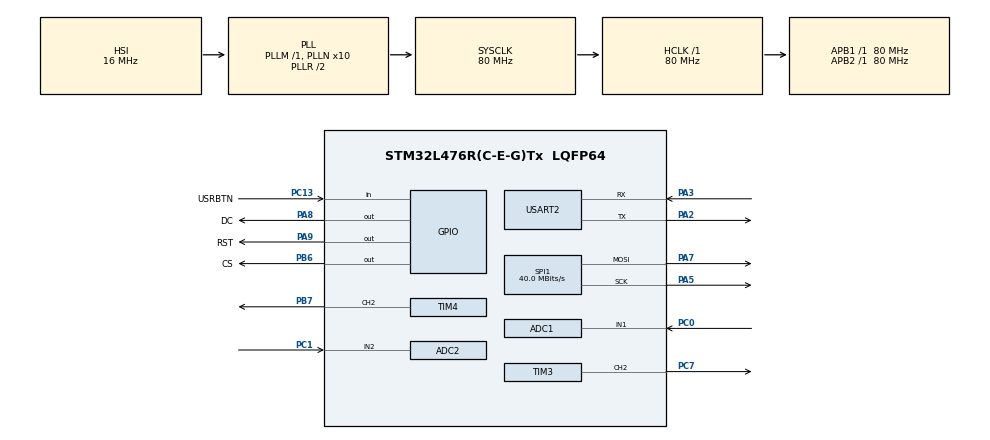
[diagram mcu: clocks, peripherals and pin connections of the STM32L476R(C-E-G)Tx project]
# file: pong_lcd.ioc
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ADC1.Channel-0\#ChannelRegularConversion=ADC_CHANNEL_1
ADC1.ContinuousConvMode=ENABLE
ADC1.NbrOfConversionFlag=1
ADC1.OffsetNumber-0\#ChannelRegularConversion=ADC_OFFSET_NONE
ADC1.Overrun=ADC_OVR_DATA_OVERWRITTEN
ADC1.Rank-0\#ChannelRegularConversion=1
ADC1.Resolution=ADC_RESOLUTION_8B
ADC1.SamplingTime-0\#ChannelRegularConversion=ADC_SAMPLETIME_2CYCLES_5
ADC1.master=1
ADC2.Channel-0\#ChannelRegularConversion=ADC_CHANNEL_2
ADC2.ContinuousConvMode=ENABLE
ADC2.NbrOfConversionFlag=1
ADC2.OffsetNumber-0\#ChannelRegularConversion=ADC_OFFSET_NONE
ADC2.Overrun=ADC_OVR_DATA_OVERWRITTEN
ADC2.Rank-0\#ChannelRegularConversion=1
ADC2.Resolution=ADC_RESOLUTION_8B
ADC2.SamplingTime-0\#ChannelRegularConversion=ADC_SAMPLETIME_2CYCLES_5
Mcu.Family=STM32L4
Mcu.Name=STM32L476R(C-E-G)Tx
Mcu.Package=LQFP64
NVIC.PriorityGroup=NVIC_PRIORITYGROUP_4
NVIC.TIM6_DAC_IRQn=true\:0\:0\:false\:false\:true\:true\:true\:true
NVIC.USART2_IRQn=true\:0\:0\:false\:false\:true\:true\:true\:true
PA2.Mode=Asynchronous
PA2.Signal=USART2_TX
PA3.Mode=Asynchronous
PA3.Signal=USART2_RX
PA5.Mode=TX_Only_Simplex_Unidirect_Master
PA5.Signal=SPI1_SCK
PA7.Mode=TX_Only_Simplex_Unidirect_Master
PA7.Signal=SPI1_MOSI
PA8.GPIO_Label=DC
PA8.Signal=GPIO_Output
PA9.GPIO_Label=RST
PA9.Signal=GPIO_Output
PB6.GPIO_Label=CS
PB6.Signal=GPIO_Output
PB7.Signal=S_TIM4_CH2
PC0.Signal=ADCx_IN1
PC1.Signal=ADCx_IN2
PC13.GPIO_Label=USRBTN
PC13.Signal=GPIO_Input
PC14-OSC32_IN\ (PC14).Mode=LSE-External-Oscillator
PC14-OSC32_IN\ (PC14).Signal=RCC_OSC32_IN
PC15-OSC32_OUT\ (PC15).Mode=LSE-External-Oscillator
PC15-OSC32_OUT\ (PC15).Signal=RCC_OSC32_OUT
PC7.Signal=S_TIM3_CH2
ProjectManager.HeapSize=0x200
ProjectManager.StackSize=0x400
ProjectManager.TargetToolchain=STM32CubeIDE
RCC.ADCFreq_Value=64000000
RCC.AHBFreq_Value=80000000
RCC.APB1Freq_Value=80000000
RCC.APB1TimFreq_Value=80000000
RCC.APB2Freq_Value=80000000
RCC.APB2TimFreq_Value=80000000
RCC.CortexFreq_Value=80000000
RCC.HCLKFreq_Value=80000000
RCC.HSE_VALUE=8000000
RCC.HSI_VALUE=16000000
RCC.MSI_VALUE=4000000
RCC.PLLN=10
RCC.PLLSourceVirtual=RCC_PLLSOURCE_HSI
RCC.PREFETCH_ENABLE=1
RCC.RTCClockSelection=RCC_RTCCLKSOURCE_LSE
RCC.SYSCLKFreq_VALUE=80000000
RCC.SYSCLKSource=RCC_SYSCLKSOURCE_PLLCLK
RCC.USBFreq_Value=64000000
RCC.VCOOutputFreq_Value=160000000
SH.ADCx_IN1.0=ADC1_IN1,IN1-Single-Ended
SH.ADCx_IN2.0=ADC2_IN2,IN2-Single-Ended
SH.S_TIM3_CH2.0=TIM3_CH2,PWM Generation2 CH2
SH.S_TIM4_CH2.0=TIM4_CH2,PWM Generation2 CH2
SPI1.BaudRatePrescaler=SPI_BAUDRATEPRESCALER_2
SPI1.CalculateBaudRate=40.0 MBits/s
SPI1.DataSize=SPI_DATASIZE_8BIT
SPI1.Direction=SPI_DIRECTION_2LINES
SPI1.Mode=SPI_MODE_MASTER
SPI1.VirtualType=VM_MASTER
TIM3.Channel-PWM\ Generation2\ CH2=TIM_CHANNEL_2
TIM3.Period=1000-1
TIM3.Prescaler=300-1
TIM4.Channel-PWM\ Generation2\ CH2=TIM_CHANNEL_2
TIM6.Period=9999
TIM6.Prescaler=7999
USART2.VirtualMode-Asynchronous=VM_ASYNC
VP_RTC_VS_RTC_Activate.Mode=RTC_Enabled
VP_TIM6_VS_ClockSourceINT.Mode=Enable_Timer
board=NUCLEO-L476RG

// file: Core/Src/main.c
/* USER CODE BEGIN Header */
/**
 ******************************************************************************
 * @file           : main.c
 * @brief          : Main program body
 ******************************************************************************
 * @attention
 *
 * Copyright (c) 2026 STMicroelectronics.
 * All rights reserved.
 *
 * This software is licensed under terms that can be found in the LICENSE file
 * in the root directory of this software component.
 * If no LICENSE file comes with this software, it is provided AS-IS.
 *
 ******************************************************************************
 */
/* USER CODE END Header */
#include "main.h"

/* USER CODE BEGIN Includes */
#include "waveshare/GUI_Paint.h"
#include "waveshare/fonts.h"
#include "waveshare/image.h"
#include "waveshare/LCD_Test.h"
#include "waveshare/LCD_2inch4.h"
#include "waveshare/DEV_Config.h"
#include "buzzer.h"
#include "wyniki.h"

#include <stdio.h>
#include <stdlib.h>
#include <string.h>
#include <math.h>
/* USER CODE END Includes */

/* USER CODE BEGIN PD */
#define SIZE 6
/* USER CODE END PD */

ADC_HandleTypeDef hadc1;
ADC_HandleTypeDef hadc2;

RTC_HandleTypeDef hrtc;

SPI_HandleTypeDef hspi1;

TIM_HandleTypeDef htim3;
TIM_HandleTypeDef htim4;
TIM_HandleTypeDef htim6;

UART_HandleTypeDef huart2;

/* USER CODE BEGIN PV */
//UART
uint8_t rx = 0;

//ADC
uint32_t value = 0;
uint32_t value2 = 0;

//Timer
volatile uint32_t game_time = 0;
volatile uint8_t tick_flag = 0;

//Punkty
char punkty1[5];
char punkty2[5];
int p1 = 0;
int p2 = 0;

//Bufor
char buf[256] = {'\0'};

//Kontrola prędkości etc.
int divider = 0;
int wcisniety = 0;
int speed = 2;

//Pozycja paletek
volatile int wl = 100;
volatile int wp = 100;
/* USER CODE END PV */

void SystemClock_Config(void);
void PeriphCommonClock_Config(void);
static void MX_GPIO_Init(void);
static void MX_RTC_Init(void);
static void MX_SPI1_Init(void);
static void MX_USART2_UART_Init(void);
static void MX_TIM3_Init(void);
static void MX_TIM4_Init(void);
static void MX_ADC1_Init(void);
static void MX_ADC2_Init(void);
static void MX_TIM6_Init(void);
/* USER CODE BEGIN PFP */
void Demo(struct rankingList *ranking);
void punkty_up(int gracz);
char* odczytaj(char *word, size_t size);
void wyslij(char* string);
void Buzzer_SetTone(uint32_t freq_hz, uint8_t volume);
/* USER CODE END PFP */

/* USER CODE BEGIN 0 */

const Tone_t nokia_t[] = {

		{NOTE_E5, 8}, {NOTE_D5, 8},{ NOTE_FS4, 4},{ NOTE_GS4, 4},
		{NOTE_CS5, 8}, {NOTE_B4, 8}, {NOTE_D4, 4}, {NOTE_E4, 4},
		{NOTE_B4, 8}, {NOTE_A4, 8}, {NOTE_CS4, 4}, {NOTE_E4, 4},
		{NOTE_A4, 2}, {0,0}
};

int melody[] = {

  // Cantina BAnd - Star wars
  // Score available at https://musescore.com/user/6795541/scores/1606876
  NOTE_B4,-4, NOTE_E5,-4, NOTE_B4,-4, NOTE_E5,-4,
  NOTE_B4,8,  NOTE_E5,-4, NOTE_B4,8, REST,8,  NOTE_AS4,8, NOTE_B4,8,
  NOTE_B4,8,  NOTE_AS4,8, NOTE_B4,8, NOTE_A4,8, REST,8, NOTE_GS4,8, NOTE_A4,8, NOTE_G4,8,
  NOTE_G4,4,  NOTE_E4,-2,
  NOTE_B4,-4, NOTE_E5,-4, NOTE_B4,-4, NOTE_E5,-4,
  NOTE_B4,8,  NOTE_E5,-4, NOTE_B4,8, REST,8,  NOTE_AS4,8, NOTE_B4,8,

  NOTE_A4,-4, NOTE_A4,-4, NOTE_GS4,8, NOTE_A4,-4,
  NOTE_D5,8,  NOTE_C5,-4, NOTE_B4,-4, NOTE_A4,-4,
  NOTE_B4,-4, NOTE_E5,-4, NOTE_B4,-4, NOTE_E5,-4,
  NOTE_B4,8,  NOTE_E5,-4, NOTE_B4,8, REST,8,  NOTE_AS4,8, NOTE_B4,8,
  NOTE_D5,4, NOTE_D5,-4, NOTE_B4,8, NOTE_A4,-4,
  NOTE_G4,-4, NOTE_E4,-2,
  NOTE_E4, 2, NOTE_G4,2,
  NOTE_B4, 2, NOTE_D5,2,

  NOTE_F5, -4, NOTE_E5,-4, NOTE_AS4,8, NOTE_AS4,8, NOTE_B4,4, NOTE_G4,4,

};

int __io_putchar(int ch)
{
	if (ch == '\n') {
		uint8_t ch2 = '\r';
		HAL_UART_Transmit(&huart2, &ch2, 1, HAL_MAX_DELAY);
	}
	HAL_UART_Transmit(&huart2, (uint8_t*)&ch, 1, HAL_MAX_DELAY);
	return 1;
}

int __io_getchar(void) {
	uint8_t ch = 0;

	HAL_UART_Receive(&huart2, &ch, 1, HAL_MAX_DELAY);

	if(ch == '\r') {
		HAL_UART_Transmit(&huart2, (uint8_t*)"\r\n", 2, 10);
		return '\n';
	}

	HAL_UART_Transmit(&huart2, &ch, 1, 100);

	return ch;
}

void HAL_TIM_PeriodElapsedCallback(TIM_HandleTypeDef *htim)
{
	if(htim->Instance == TIM6)
	{
		game_time++;
		tick_flag = 1;
	}
}

void Buzzer_SetTone(uint32_t freq_hz, uint8_t volume)
{
	if (freq_hz == 0)
	{
		__HAL_TIM_SET_COMPARE(&htim4, TIM_CHANNEL_2, 0);
		return;
	}

	uint32_t timer_clock = 80000000;
	uint32_t prescaler_value = (timer_clock / 1000000) - 1;
	uint32_t period_value = (1000000 / freq_hz) - 1;
	uint32_t pulse_value = (period_value * volume) / 100;

	// Apply settings
	__HAL_TIM_SET_PRESCALER(&htim4, prescaler_value);
	__HAL_TIM_SET_AUTORELOAD(&htim4, period_value);
	__HAL_TIM_SET_COMPARE(&htim4, TIM_CHANNEL_2, pulse_value);

	// Trigger update to apply changes immediately
	HAL_TIM_GenerateEvent(&htim4, TIM_EVENTSOURCE_UPDATE);
}

void nokia(void) {
	const uint32_t WHOLE_NOTE_DURATION = 1700;
	uint32_t noteDuration = 0;

	for (int i = 0; nokia_t[i].frequency != 0; i++)
	{
		if(nokia_t[i].duration_ms > 0) {
			noteDuration = WHOLE_NOTE_DURATION / nokia_t[i].duration_ms;
		} else {
			noteDuration = WHOLE_NOTE_DURATION / abs(nokia_t[i].duration_ms)*1.5;
		}

		Buzzer_SetTone(nokia_t[i].frequency, 50);

		HAL_Delay(noteDuration * 0.9);

		Buzzer_SetTone(0, 0);
		HAL_Delay(noteDuration * 0.1);
	}
	Buzzer_SetTone(0, 0);
}

void wyslij(char* string)
{
	HAL_UART_Transmit(&huart2, (uint8_t*)string, strlen(string), 1000);
}

char* odczytaj(char *word, size_t size) {
	uint8_t value = 0;
	int i=0;
	while(i < size - 1) {
		HAL_UART_Receive(&huart2, &value, 1, HAL_MAX_DELAY);
		if (value == 0x7F) {
			if(i>0) {
				word[i] = '\0';
				i--;
				uint8_t erase[] = "\b \b";
				HAL_UART_Transmit(&huart2, erase, 3, 10);
			}
			continue;
		}
		//jak obsłużymy \r to \n zostaje w buforze
		if (value == '\n') {
			continue;
		}
		if(value == '\r') {
			break;
		}
		word[i] = value;

		HAL_UART_Transmit(&huart2, &value, 1, 10);
		char tempStr[2] = {value, '\0'};
		int current_x = 50 + (i * 16);
		Paint_DrawString_EN (current_x, 155, tempStr, &Font24, WHITE, BLACK);

		i++;
		value = 0;
	}
	word[i] = '\0';
	wyslij("\r\n");
	return word;
}

void end(struct rankingList *ranking) {
	char tekst[8] = {'\0'};
	printf("\n");
	Paint_DrawString_EN (50, 70, "KONIEC GRY", &Font24, BLACK, WHITE);
	nokia();
	HAL_Delay(1000);

	int score = 0;
	int winner = (p1 > p2) ? 1 : 2;

	LCD_2IN4_Clear(WHITE);
	Paint_DrawString_EN (10, 30, "KONIEC GRY", &Font24, WHITE, BLACK);
	if (winner == 1) {
		Paint_DrawString_EN (30, 70, "Wygral P1!", &Font24, WHITE, BLACK);
		score = calculatePoints(p1, p2);
	} else {
		Paint_DrawString_EN (30, 70, "Wygral P2!", &Font24, WHITE, BLACK);
		score = calculatePoints(p2, p1);
	}
	Paint_DrawString_EN (30, 130, "Wpisz imie:", &Font24, WHITE, BLACK);
	odczytaj(tekst, sizeof(tekst));
	Paint_DrawString_EN (50, 155, tekst,        &Font24,    BLACK,  WHITE);

	struct player nowy_gracz;
	addPlayerData(&nowy_gracz, tekst, score);
	addPlayerToList(ranking, &nowy_gracz);

	printf("Dodano gracza: %s z wynikiem: %d\n", tekst, score);
	HAL_Delay(2000); // Czas na przeczytanie
}

void punkty_up(int gracz) {
	if(gracz == 1) {
		p1++;
		sprintf(punkty1, "%d", p1);
	}
	if(gracz == 2) {
		p2++;
		sprintf(punkty2, "%d", p2);
	}
	Buzzer_SetTone(1500, 50);
	HAL_Delay(20);
	Buzzer_SetTone(0,0);

	Paint_DrawString_EN (50, 10, punkty1, &Font24, BLACK, WHITE);
	Paint_DrawString_EN (200, 10, punkty2, &Font24, BLACK, WHITE);
}

void pong(struct rankingList *ranking) {
	int x = 120, y = 160;
	int dx = 1, dy = 1;
	int wl_old = 0, wp_old = 0;

	//reset zmiennych
	p1 = p2 = wcisniety = 0;
	game_time = 0;
	sprintf(punkty1, "0");
	sprintf(punkty2, "0");
	speed = 2;

	LCD_2IN4_Clear(BLACK);
	srand(HAL_GetTick());

	Paint_DrawString_EN (50, 10, "0", &Font24, BLACK, WHITE);
	Paint_DrawString_EN (200, 10, "0", &Font24, BLACK, WHITE);
	HAL_TIM_Base_Start_IT(&htim6);

	while(1) {
		//timer
		if(tick_flag)
		{
			tick_flag = 0;
			uint32_t mins = game_time / 60;
			uint32_t secs = game_time % 60;
			printf("Czas gry: %02lu:%02lu \r\n", mins, secs);
		}

		//handling przycisku USRBTN
		if (HAL_GPIO_ReadPin(USRBTN_GPIO_Port, USRBTN_Pin) == GPIO_PIN_RESET
				&& wcisniety == 0) {
			wcisniety = 1;
			speed += 5;
			if(speed == 22) speed = 2;
			sprintf(buf, "Predkosc: %d", speed);
			Paint_DrawString_EN (30, 100, buf,        &Font24,    BLACK,  WHITE);
			HAL_Delay(1000);
			LCD_2IN4_Clear(BLACK);
		}

		if (HAL_GPIO_ReadPin(USRBTN_GPIO_Port, USRBTN_Pin) == GPIO_PIN_SET
				&& wcisniety == 1) {
			wcisniety = 0;
		}

		//paletki
		if(wl_old != wl) {
			LCD_2IN4_SetWindow(wl_old, 20, wl_old+80, 20+8);
			LCD_2IN4_WriteData_WordBuffer(BLACK, 80*8);
		}
		if(wp_old != wp) {
			LCD_2IN4_SetWindow(wp_old, 300, wp_old+80, 300+8);
			LCD_2IN4_WriteData_WordBuffer(BLACK, 80*8);
		}
		wl_old = wl; wp_old = wp;

		LCD_2IN4_SetWindow(wl, 20, wl+80, 20+8);
		LCD_2IN4_WriteData_WordBuffer(WHITE, 80*8);
		LCD_2IN4_SetWindow(wp, 300, wp+80, 300+8);
		LCD_2IN4_WriteData_WordBuffer(WHITE, 80*8);

		//piłeczka
		LCD_2IN4_SetWindow(x, y, x+SIZE, y+SIZE);
		LCD_2IN4_WriteData_WordBuffer(WHITE, SIZE*SIZE);

		LCD_2IN4_SetWindow(x, y, x + SIZE, y + SIZE);
		LCD_2IN4_WriteData_WordBuffer(BLACK, SIZE*SIZE);

		//update pozycji
		x += dx;
		y += dy;

		if(y <= 0) {
			punkty_up(2);
			y = 160;
			x = 120;
		}
		if(y + SIZE >= 320) {
			punkty_up(1);
			y = 160;
			x = 120;
		}
		//warunek wygranej
		if(p1 == 10 || p2 == 10) {
			end(ranking);
			break;
		}

		// Bounce off edges
		if(x <= 0 || x + SIZE >= 240) dx=-dx;

		if(y <= 0 || y + SIZE >= 320) {
			dx = (rand() % 2 == 0) ? 1 : -1;
			dy = (rand() % 2 == 0) ? 1 : -1;
		}

		// Bounce off paletki
		if(y == 28 && x > wl-10 && x < wl+90) {
			dy = -dy;
			Buzzer_SetTone(1000, 50);
			HAL_Delay(20);
			Buzzer_SetTone(0,0);
		}

		if(y == 292 && x > wp-10 && x < wp+90) {
			dy = -dy;
			Buzzer_SetTone(1000, 50);
			HAL_Delay(20);
			Buzzer_SetTone(0,0);
		}

		LCD_2IN4_SetWindow(x, y, x + SIZE, y + SIZE);
		LCD_2IN4_WriteData_WordBuffer(WHITE, SIZE*SIZE);

		HAL_Delay(speed);

		//pomiar co 2 takty gry
		if(divider<10) divider++;
		else divider = 0;
		if(divider%2 == 0) {
			value = HAL_ADC_GetValue(&hadc2);
			value2 = HAL_ADC_GetValue(&hadc1);
			//float voltage = value * 3.3f / 255.0f;
			//printf("\rADC: %d, ADC2: %d", value, value2);
			wl = (value > 160) ? 160 : value;
			wp = (value2 > 160) ? 160 : value2;
		}
	}
}
/* USER CODE END 0 */

int main(void)
{

	/* MCU Configuration--------------------------------------------------------*/

	/* Reset of all peripherals, Initializes the Flash interface and the Systick. */
	HAL_Init();

	/* Configure the system clock */
	SystemClock_Config();

	/* Configure the peripherals common clocks */
	PeriphCommonClock_Config();

	/* Initialize all configured peripherals */
	MX_GPIO_Init();
	MX_RTC_Init();
	MX_SPI1_Init();
	MX_USART2_UART_Init();
	MX_TIM3_Init();
	MX_TIM4_Init();
	MX_ADC1_Init();
	MX_ADC2_Init();
	MX_TIM6_Init();
	/* USER CODE BEGIN 2 */
	setvbuf(stdin, NULL, _IONBF, 0);
	setvbuf(stdout, NULL, _IONBF, 0);

	__HAL_TIM_SET_COMPARE(&htim4, TIM_CHANNEL_2, 0);
	HAL_TIM_PWM_Start(&htim4, TIM_CHANNEL_2);

	HAL_ADCEx_Calibration_Start(&hadc1, ADC_SINGLE_ENDED);
	HAL_ADC_Start(&hadc1);
	HAL_ADCEx_Calibration_Start(&hadc2, ADC_SINGLE_ENDED);
	HAL_ADC_Start(&hadc2);

	LCD_2in4_test();
	//	rickroll();

	struct rankingList ranking = {0};

	/* USER CODE END 2 */

	/* Infinite loop */
	/* USER CODE BEGIN WHILE */
	while (1)
	{
		LCD_2IN4_Clear(WHITE);
		if (ranking.cPlayers > 0) {
			Paint_DrawString_EN(40, 20, "TOP 5 GRACZY:", &Font20, WHITE, BLACK);

			int limit = (ranking.cPlayers > 5) ? 5 : ranking.cPlayers; // Max 5 lub mniej
			char line_buf[50];
			int y_pos = 60; // Pozycja startowa Y dla listy

			for(int i = 0; i < limit; i++) {
				// Formatowanie tekstu: "1. Nick: Wynik"
				snprintf(line_buf, sizeof(line_buf), "%d.%s: %d",
						i + 1,
						ranking.pList[i].nick,
						ranking.pList[i].score);

				Paint_DrawString_EN(20, y_pos, line_buf, &Font16, WHITE, BLACK);
				y_pos += 25; // Odstęp między wierszami
			}
		}
		Paint_DrawString_EN(20, 200, "Wcisnij przycisk", &Font16, WHITE, BLACK);
		Paint_DrawString_EN(50, 220, "aby zagrac!!!", &Font20, WHITE, BLACK);

		printf("Czekam na przycisk...\n");

		while(HAL_GPIO_ReadPin(USRBTN_GPIO_Port, USRBTN_Pin) != GPIO_PIN_RESET) {
			HAL_Delay(50);
		}

		//debounce
		HAL_Delay(200);

		//Wyświetlenie rankingu na UART
		printf("\r\n--- RANKING GRACZY ---\r\n");
		printList(&ranking);
		printf("----------------------\r\nStart gry za 2 sekundy...\r\n");

		pong(&ranking);
		/* USER CODE END WHILE */

	}
}

void SystemClock_Config(void)
{
	RCC_OscInitTypeDef RCC_OscInitStruct = {0};
	RCC_ClkInitTypeDef RCC_ClkInitStruct = {0};

	/** Configure the main internal regulator output voltage
	 */
	if (HAL_PWREx_ControlVoltageScaling(PWR_REGULATOR_VOLTAGE_SCALE1) != HAL_OK)
	{
		Error_Handler();
	}

	/** Configure LSE Drive Capability
	 */
	HAL_PWR_EnableBkUpAccess();
	__HAL_RCC_LSEDRIVE_CONFIG(RCC_LSEDRIVE_LOW);

	/** Initializes the RCC Oscillators according to the specified parameters
	 * in the RCC_OscInitTypeDef structure.
	 */
	RCC_OscInitStruct.OscillatorType = RCC_OSCILLATORTYPE_HSI|RCC_OSCILLATORTYPE_LSE;
	RCC_OscInitStruct.LSEState = RCC_LSE_ON;
	RCC_OscInitStruct.HSIState = RCC_HSI_ON;
	RCC_OscInitStruct.HSICalibrationValue = RCC_HSICALIBRATION_DEFAULT;
	RCC_OscInitStruct.PLL.PLLState = RCC_PLL_ON;
	RCC_OscInitStruct.PLL.PLLSource = RCC_PLLSOURCE_HSI;
	RCC_OscInitStruct.PLL.PLLM = 1;
	RCC_OscInitStruct.PLL.PLLN = 10;
	RCC_OscInitStruct.PLL.PLLP = RCC_PLLP_DIV7;
	RCC_OscInitStruct.PLL.PLLQ = RCC_PLLQ_DIV2;
	RCC_OscInitStruct.PLL.PLLR = RCC_PLLR_DIV2;
	if (HAL_RCC_OscConfig(&RCC_OscInitStruct) != HAL_OK)
	{
		Error_Handler();
	}

	/** Initializes the CPU, AHB and APB buses clocks
	 */
	RCC_ClkInitStruct.ClockType = RCC_CLOCKTYPE_HCLK|RCC_CLOCKTYPE_SYSCLK
			|RCC_CLOCKTYPE_PCLK1|RCC_CLOCKTYPE_PCLK2;
	RCC_ClkInitStruct.SYSCLKSource = RCC_SYSCLKSOURCE_PLLCLK;
	RCC_ClkInitStruct.AHBCLKDivider = RCC_SYSCLK_DIV1;
	RCC_ClkInitStruct.APB1CLKDivider = RCC_HCLK_DIV1;
	RCC_ClkInitStruct.APB2CLKDivider = RCC_HCLK_DIV1;

	if (HAL_RCC_ClockConfig(&RCC_ClkInitStruct, FLASH_LATENCY_4) != HAL_OK)
	{
		Error_Handler();
	}
}

void PeriphCommonClock_Config(void)
{
	RCC_PeriphCLKInitTypeDef PeriphClkInit = {0};

	/** Initializes the peripherals clock
	 */
	PeriphClkInit.PeriphClockSelection = RCC_PERIPHCLK_ADC;
	PeriphClkInit.AdcClockSelection = RCC_ADCCLKSOURCE_PLLSAI1;
	PeriphClkInit.PLLSAI1.PLLSAI1Source = RCC_PLLSOURCE_HSI;
	PeriphClkInit.PLLSAI1.PLLSAI1M = 1;
	PeriphClkInit.PLLSAI1.PLLSAI1N = 8;
	PeriphClkInit.PLLSAI1.PLLSAI1P = RCC_PLLP_DIV7;
	PeriphClkInit.PLLSAI1.PLLSAI1Q = RCC_PLLQ_DIV2;
	PeriphClkInit.PLLSAI1.PLLSAI1R = RCC_PLLR_DIV2;
	PeriphClkInit.PLLSAI1.PLLSAI1ClockOut = RCC_PLLSAI1_ADC1CLK;
	if (HAL_RCCEx_PeriphCLKConfig(&PeriphClkInit) != HAL_OK)
	{
		Error_Handler();
	}
}

static void MX_ADC1_Init(void)
{

	ADC_MultiModeTypeDef multimode = {0};
	ADC_ChannelConfTypeDef sConfig = {0};

	/** Common config
	 */
	hadc1.Instance = ADC1;
	hadc1.Init.ClockPrescaler = ADC_CLOCK_ASYNC_DIV1;
	hadc1.Init.Resolution = ADC_RESOLUTION_8B;
	hadc1.Init.DataAlign = ADC_DATAALIGN_RIGHT;
	hadc1.Init.ScanConvMode = ADC_SCAN_DISABLE;
	hadc1.Init.EOCSelection = ADC_EOC_SINGLE_CONV;
	hadc1.Init.LowPowerAutoWait = DISABLE;
	hadc1.Init.ContinuousConvMode = ENABLE;
	hadc1.Init.NbrOfConversion = 1;
	hadc1.Init.DiscontinuousConvMode = DISABLE;
	hadc1.Init.ExternalTrigConv = ADC_SOFTWARE_START;
	hadc1.Init.ExternalTrigConvEdge = ADC_EXTERNALTRIGCONVEDGE_NONE;
	hadc1.Init.DMAContinuousRequests = DISABLE;
	hadc1.Init.Overrun = ADC_OVR_DATA_OVERWRITTEN;
	hadc1.Init.OversamplingMode = DISABLE;
	if (HAL_ADC_Init(&hadc1) != HAL_OK)
	{
		Error_Handler();
	}

	/** Configure the ADC multi-mode
	 */
	multimode.Mode = ADC_MODE_INDEPENDENT;
	if (HAL_ADCEx_MultiModeConfigChannel(&hadc1, &multimode) != HAL_OK)
	{
		Error_Handler();
	}

	/** Configure Regular Channel
	 */
	sConfig.Channel = ADC_CHANNEL_1;
	sConfig.Rank = ADC_REGULAR_RANK_1;
	sConfig.SamplingTime = ADC_SAMPLETIME_2CYCLES_5;
	sConfig.SingleDiff = ADC_SINGLE_ENDED;
	sConfig.OffsetNumber = ADC_OFFSET_NONE;
	sConfig.Offset = 0;
	if (HAL_ADC_ConfigChannel(&hadc1, &sConfig) != HAL_OK)
	{
		Error_Handler();
	}

}

static void MX_ADC2_Init(void)
{

	ADC_ChannelConfTypeDef sConfig = {0};

	/** Common config
	 */
	hadc2.Instance = ADC2;
	hadc2.Init.ClockPrescaler = ADC_CLOCK_ASYNC_DIV1;
	hadc2.Init.Resolution = ADC_RESOLUTION_8B;
	hadc2.Init.DataAlign = ADC_DATAALIGN_RIGHT;
	hadc2.Init.ScanConvMode = ADC_SCAN_DISABLE;
	hadc2.Init.EOCSelection = ADC_EOC_SINGLE_CONV;
	hadc2.Init.LowPowerAutoWait = DISABLE;
	hadc2.Init.ContinuousConvMode = ENABLE;
	hadc2.Init.NbrOfConversion = 1;
	hadc2.Init.DiscontinuousConvMode = DISABLE;
	hadc2.Init.ExternalTrigConv = ADC_SOFTWARE_START;
	hadc2.Init.ExternalTrigConvEdge = ADC_EXTERNALTRIGCONVEDGE_NONE;
	hadc2.Init.DMAContinuousRequests = DISABLE;
	hadc2.Init.Overrun = ADC_OVR_DATA_OVERWRITTEN;
	hadc2.Init.OversamplingMode = DISABLE;
	if (HAL_ADC_Init(&hadc2) != HAL_OK)
	{
		Error_Handler();
	}

	/** Configure Regular Channel
	 */
	sConfig.Channel = ADC_CHANNEL_2;
	sConfig.Rank = ADC_REGULAR_RANK_1;
	sConfig.SamplingTime = ADC_SAMPLETIME_2CYCLES_5;
	sConfig.SingleDiff = ADC_SINGLE_ENDED;
	sConfig.OffsetNumber = ADC_OFFSET_NONE;
	sConfig.Offset = 0;
	if (HAL_ADC_ConfigChannel(&hadc2, &sConfig) != HAL_OK)
	{
		Error_Handler();
	}

}

static void MX_RTC_Init(void)
{

	/** Initialize RTC Only
	 */
	hrtc.Instance = RTC;
	hrtc.Init.HourFormat = RTC_HOURFORMAT_24;
	hrtc.Init.AsynchPrediv = 127;
	hrtc.Init.SynchPrediv = 255;
	hrtc.Init.OutPut = RTC_OUTPUT_DISABLE;
	hrtc.Init.OutPutRemap = RTC_OUTPUT_REMAP_NONE;
	hrtc.Init.OutPutPolarity = RTC_OUTPUT_POLARITY_HIGH;
	hrtc.Init.OutPutType = RTC_OUTPUT_TYPE_OPENDRAIN;
	if (HAL_RTC_Init(&hrtc) != HAL_OK)
	{
		Error_Handler();
	}

}

static void MX_SPI1_Init(void)
{

	/* SPI1 parameter configuration*/
	hspi1.Instance = SPI1;
	hspi1.Init.Mode = SPI_MODE_MASTER;
	hspi1.Init.Direction = SPI_DIRECTION_2LINES;
	hspi1.Init.DataSize = SPI_DATASIZE_8BIT;
	hspi1.Init.CLKPolarity = SPI_POLARITY_LOW;
	hspi1.Init.CLKPhase = SPI_PHASE_1EDGE;
	hspi1.Init.NSS = SPI_NSS_SOFT;
	hspi1.Init.BaudRatePrescaler = SPI_BAUDRATEPRESCALER_2;
	hspi1.Init.FirstBit = SPI_FIRSTBIT_MSB;
	hspi1.Init.TIMode = SPI_TIMODE_DISABLE;
	hspi1.Init.CRCCalculation = SPI_CRCCALCULATION_DISABLE;
	hspi1.Init.CRCPolynomial = 7;
	hspi1.Init.CRCLength = SPI_CRC_LENGTH_DATASIZE;
	hspi1.Init.NSSPMode = SPI_NSS_PULSE_ENABLE;
	if (HAL_SPI_Init(&hspi1) != HAL_OK)
	{
		Error_Handler();
	}

}

static void MX_TIM3_Init(void)
{

	TIM_MasterConfigTypeDef sMasterConfig = {0};
	TIM_OC_InitTypeDef sConfigOC = {0};

	htim3.Instance = TIM3;
	htim3.Init.Prescaler = 300-1;
	htim3.Init.CounterMode = TIM_COUNTERMODE_UP;
	htim3.Init.Period = 1000-1;
	htim3.Init.ClockDivision = TIM_CLOCKDIVISION_DIV1;
	htim3.Init.AutoReloadPreload = TIM_AUTORELOAD_PRELOAD_DISABLE;
	if (HAL_TIM_PWM_Init(&htim3) != HAL_OK)
	{
		Error_Handler();
	}
	sMasterConfig.MasterOutputTrigger = TIM_TRGO_RESET;
	sMasterConfig.MasterSlaveMode = TIM_MASTERSLAVEMODE_DISABLE;
	if (HAL_TIMEx_MasterConfigSynchronization(&htim3, &sMasterConfig) != HAL_OK)
	{
		Error_Handler();
	}
	sConfigOC.OCMode = TIM_OCMODE_PWM1;
	sConfigOC.Pulse = 0;
	sConfigOC.OCPolarity = TIM_OCPOLARITY_HIGH;
	sConfigOC.OCFastMode = TIM_OCFAST_DISABLE;
	if (HAL_TIM_PWM_ConfigChannel(&htim3, &sConfigOC, TIM_CHANNEL_2) != HAL_OK)
	{
		Error_Handler();
	}
	HAL_TIM_MspPostInit(&htim3);

}

static void MX_TIM4_Init(void)
{

	TIM_MasterConfigTypeDef sMasterConfig = {0};
	TIM_OC_InitTypeDef sConfigOC = {0};

	htim4.Instance = TIM4;
	htim4.Init.Prescaler = 0;
	htim4.Init.CounterMode = TIM_COUNTERMODE_UP;
	htim4.Init.Period = 65535;
	htim4.Init.ClockDivision = TIM_CLOCKDIVISION_DIV1;
	htim4.Init.AutoReloadPreload = TIM_AUTORELOAD_PRELOAD_DISABLE;
	if (HAL_TIM_PWM_Init(&htim4) != HAL_OK)
	{
		Error_Handler();
	}
	sMasterConfig.MasterOutputTrigger = TIM_TRGO_RESET;
	sMasterConfig.MasterSlaveMode = TIM_MASTERSLAVEMODE_DISABLE;
	if (HAL_TIMEx_MasterConfigSynchronization(&htim4, &sMasterConfig) != HAL_OK)
	{
		Error_Handler();
	}
	sConfigOC.OCMode = TIM_OCMODE_PWM1;
	sConfigOC.Pulse = 0;
	sConfigOC.OCPolarity = TIM_OCPOLARITY_HIGH;
	sConfigOC.OCFastMode = TIM_OCFAST_DISABLE;
	if (HAL_TIM_PWM_ConfigChannel(&htim4, &sConfigOC, TIM_CHANNEL_2) != HAL_OK)
	{
		Error_Handler();
	}
	HAL_TIM_MspPostInit(&htim4);

}

static void MX_TIM6_Init(void)
{

	TIM_MasterConfigTypeDef sMasterConfig = {0};

	htim6.Instance = TIM6;
	htim6.Init.Prescaler = 7999;
	htim6.Init.CounterMode = TIM_COUNTERMODE_UP;
	htim6.Init.Period = 9999;
	htim6.Init.AutoReloadPreload = TIM_AUTORELOAD_PRELOAD_DISABLE;
	if (HAL_TIM_Base_Init(&htim6) != HAL_OK)
	{
		Error_Handler();
	}
	sMasterConfig.MasterOutputTrigger = TIM_TRGO_RESET;
	sMasterConfig.MasterSlaveMode = TIM_MASTERSLAVEMODE_DISABLE;
	if (HAL_TIMEx_MasterConfigSynchronization(&htim6, &sMasterConfig) != HAL_OK)
	{
		Error_Handler();
	}

}

static void MX_USART2_UART_Init(void)
{

	huart2.Instance = USART2;
	huart2.Init.BaudRate = 115200;
	huart2.Init.WordLength = UART_WORDLENGTH_8B;
	huart2.Init.StopBits = UART_STOPBITS_1;
	huart2.Init.Parity = UART_PARITY_NONE;
	huart2.Init.Mode = UART_MODE_TX_RX;
	huart2.Init.HwFlowCtl = UART_HWCONTROL_NONE;
	huart2.Init.OverSampling = UART_OVERSAMPLING_16;
	huart2.Init.OneBitSampling = UART_ONE_BIT_SAMPLE_DISABLE;
	huart2.AdvancedInit.AdvFeatureInit = UART_ADVFEATURE_NO_INIT;
	if (HAL_UART_Init(&huart2) != HAL_OK)
	{
		Error_Handler();
	}

}

static void MX_GPIO_Init(void)
{
	GPIO_InitTypeDef GPIO_InitStruct = {0};

	/* GPIO Ports Clock Enable */
	__HAL_RCC_GPIOC_CLK_ENABLE();
	__HAL_RCC_GPIOA_CLK_ENABLE();
	__HAL_RCC_GPIOB_CLK_ENABLE();

	/*Configure GPIO pin Output Level */
	HAL_GPIO_WritePin(GPIOA, DC_Pin|RST_Pin, GPIO_PIN_RESET);

	/*Configure GPIO pin Output Level */
	HAL_GPIO_WritePin(CS_GPIO_Port, CS_Pin, GPIO_PIN_RESET);

	/*Configure GPIO pin : USRBTN_Pin */
	GPIO_InitStruct.Pin = USRBTN_Pin;
	GPIO_InitStruct.Mode = GPIO_MODE_INPUT;
	GPIO_InitStruct.Pull = GPIO_NOPULL;
	HAL_GPIO_Init(USRBTN_GPIO_Port, &GPIO_InitStruct);

	/*Configure GPIO pins : DC_Pin RST_Pin */
	GPIO_InitStruct.Pin = DC_Pin|RST_Pin;
	GPIO_InitStruct.Mode = GPIO_MODE_OUTPUT_PP;
	GPIO_InitStruct.Pull = GPIO_NOPULL;
	GPIO_InitStruct.Speed = GPIO_SPEED_FREQ_LOW;
	HAL_GPIO_Init(GPIOA, &GPIO_InitStruct);

	/*Configure GPIO pin : CS_Pin */
	GPIO_InitStruct.Pin = CS_Pin;
	GPIO_InitStruct.Mode = GPIO_MODE_OUTPUT_PP;
	GPIO_InitStruct.Pull = GPIO_NOPULL;
	GPIO_InitStruct.Speed = GPIO_SPEED_FREQ_LOW;
	HAL_GPIO_Init(CS_GPIO_Port, &GPIO_InitStruct);

}

void Error_Handler(void)
{
	__disable_irq();
	while (1)
	{
	}
}
